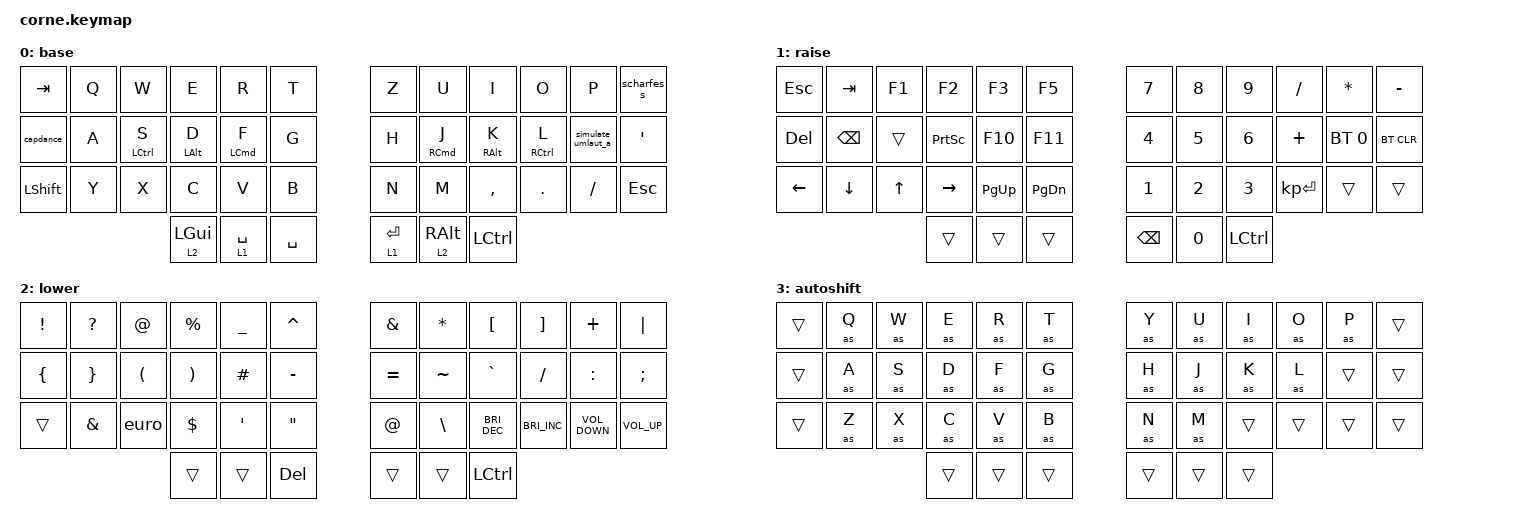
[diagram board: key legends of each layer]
#include <behaviors.dtsi>
#include <dt-bindings/zmk/keys.h>
#include <dt-bindings/zmk/bt.h>

// dt-formatter: indent = "  "
// dt-formatter: multilineIntegerCellsIndent = "reindent"
// dt-formatter: multilineListCommaStyle = "leading"

&sk { /delete-property/ ignore-modifiers; };

/ {
  unicode_input: unicode_input {
    compatible = "zmk,behavior-unicode-input";
    #binding-cells = <1>;
  };

  combos {
    compatible = "zmk,combos";

    alt {
      key-positions = <39 40>;
      bindings = <&kp LEFT_ALT>;
    };
  };

  macros {
    greeting: greeting {
      compatible = "zmk,behavior-macro";
      #binding-cells = <0>;
      label = "greeting";
      bindings = <&kp H &kp E &kp L &kp L &kp O>;
    };

    shift: with_lshift {
      compatible = "zmk,behavior-macro-one-param";
      #binding-cells = <1>;
      label = "KEY_PRESS_WITH_LEFT_SHIFT_MODIFIER";
      bindings
        = <&macro_press>
        , <&kp LSHFT>
        , <&macro_tap>
        , <&macro_param_1to1 &kp MACRO_PLACEHOLDER>
        , <&macro_release>
        , <&kp LSHFT>
        ;
    };

    as: autoshift {
      compatible = "zmk,behavior-macro-one-param";
      #binding-cells = <1>;
      label = "AUTOSHIFT_KEYPRESS";
      bindings
        = <&macro_press>
        , <&macro_param_1to1 &macro_param_1to2 &as_ht MACRO_PLACEHOLDER MACRO_PLACEHOLDER>
        , <&macro_pause_for_release>
        , <&macro_release>
        , <&macro_param_1to1 &macro_param_1to2 &as_ht MACRO_PLACEHOLDER MACRO_PLACEHOLDER>
        ;
    };

    simulate_umlaut_a: simulate_umlaut_a {
      compatible = "zmk,behavior-macro";
      #binding-cells = <0>;
      bindings
        = <&macro_press>
        , <&kp RCTL>
        , <&macro_release>
        , <&kp RCTL>
        , <&macro_press>
        , <&kp DOUBLE_QUOTES>
        , <&macro_release>
        , <&kp DOUBLE_QUOTES>
        ;
    };

    euro: euro {
      compatible = "zmk,behavior-macro";
      #binding-cells = <0>;
      bindings
        = <&macro_press>
        , <&kp RCTL>
        , <&macro_release>
        , <&kp RCTL>
        , <&macro_press>
        , <&kp EQUAL>
        , <&macro_release>
        , <&kp EQUAL>
        , <&macro_press>
        , <&kp E>
        , <&macro_release>
        , <&kp E>
        ;

      label = "EURO";
    };
  scharfes_s: scharfes_s {
    compatible = "zmk,behavior-macro";
    #binding-cells = <0>;
    bindings =
      <&macro_press>, <&kp RCTL>,
      <&macro_release>, <&kp RCTL>,
      <&macro_press>, <&kp S>,
      <&macro_release>, <&kp S>,
      <&macro_press>, <&kp S>,
      <&macro_release>, <&kp S>;

    label = "SCHARFES_S";
  };
  };

  behaviors {
    as_ht: autoshift_hold_tap {
      compatible = "zmk,behavior-hold-tap";
      #binding-cells = <2>;
      label = "AUTOSHIFT_HOLD_TAP";
      bindings = <&shift>, <&kp>;

      tapping-term-ms = <300>;
    };

    hml: homewrow_mods_left {
      compatible = "zmk,behavior-hold-tap";
      #binding-cells = <2>;
      label = "HOMEROW_MODS_LEFT_HAND";
      bindings = <&kp>, <&kp>;

      flavor = "tap-preferred";
      tapping-term-ms = <250>;
      hold-trigger-key-positions = <6 7 8 9 10 11 18 19 20 21 22 23 30 31 32 33 34 35 39 40 41>;
    };

    hmr: homewrow_mods_right {
      compatible = "zmk,behavior-hold-tap";
      #binding-cells = <2>;
      label = "HOMEROW_MODS_RIGHT_HAND";
      bindings = <&kp>, <&kp>;

      flavor = "tap-preferred";
      tapping-term-ms = <250>;
      hold-trigger-key-positions = <0 1 2 3 4 5 12 13 14 15 16 17 24 25 26 27 28 29 36 37 38>;
    };

    capdance: capdance {
      compatible = "zmk,behavior-tap-dance";
      label = "CAPDANCE";
      #binding-cells = <0>;
      bindings = <&caps_word>, <&kp CAPS>;
    };

    lt: layer_tap {
      compatible = "zmk,behavior-hold-tap";
      label = "LAYER_TAP";
      #binding-cells = <2>;
      bindings = <&mo>, <&kp>;

      tapping-term-ms = <300>;
    };
  };

  conditional_layers {
    compatible = "zmk,conditional-layers";

    tri_layer {
      if-layers = <1 2>;
      then-layer = <3>;
    };
  };

  keymap {
    compatible = "zmk,keymap";

    base {
      bindings = <
        &kp TAB    &kp Q  &kp W         &kp E        &kp R        &kp T        &kp Z      &kp U        &kp I        &kp O         &kp P               &scharfes_s
        &capdance  &kp A  &hml LCTRL S  &hml LALT D  &hml LCMD F  &kp G        &kp H      &hmr RCMD J  &hmr RALT K  &hmr RCTRL L  &simulate_umlaut_a  &kp APOS
        &kp LSHFT  &kp Y  &kp X         &kp C        &kp V        &kp B        &kp N      &kp M        &kp COMMA    &kp DOT       &kp FSLH            &kp ESC
                                        &lt 2 LGUI   &lt 1 SPACE  &kp SPACE    &lt 1 RET  &lt 2 RALT   &kp LCTRL
      >;
    };

    raise {
      bindings = <
        &kp ESC   &kp TAB   &kp F1  &kp F2           &kp F3     &kp F5       &kp N7         &kp N8  &kp N9     &kp SLASH     &kp ASTERISK  &kp MINUS
        &kp DEL   &kp BSPC  &trans  &kp PRINTSCREEN  &kp F10    &kp F11      &kp N4         &kp N5  &kp N6     &kp PLUS      &bt BT_SEL 0    &bt BT_CLR
        &kp LEFT  &kp DOWN  &kp UP  &kp RIGHT        &kp PG_UP  &kp PG_DN    &kp N1         &kp N2  &kp N3     &kp KP_ENTER  &trans        &trans
                                    &trans           &trans     &trans       &kp BACKSPACE  &kp N0  &kp LCTRL
      >;
    };

    lower {
      bindings = <
        &kp EXCL  &kp QUESTION    &kp AT    &kp PRCNT  &kp UNDERSCORE         &kp CARET            &kp AMPS   &kp STAR       &kp LEFT_BRACKET      &kp RIGHT_BRACKET     &kp PLUS           &kp PIPE
        &kp LBRC  &kp RBRC        &kp LPAR  &kp RPAR    &kp HASH          &kp MINUS            &kp EQUAL  &kp TILDE      &kp GRAVE             &kp SLASH             &kp COLON          &kp SEMI
        &trans    &kp AMPERSAND  &euro  &kp DOLLAR   &kp SINGLE_QUOTE  &kp DOUBLE_QUOTES    &kp AT     &kp BACKSLASH  &kp C_BRIGHTNESS_DEC  &kp C_BRIGHTNESS_INC  &kp C_VOLUME_DOWN  &kp C_VOLUME_UP
                                            &trans      &trans            &kp DEL              &trans     &trans         &kp LCTRL
      >;
    };

    autoshift {
      bindings = <
        &trans  &as Q  &as W  &as E   &as R   &as T     &as Y   &as U   &as I   &as O   &as P   &trans
        &trans  &as A  &as S  &as D   &as F   &as G     &as H   &as J   &as K   &as L   &trans  &trans
        &trans  &as Z  &as X  &as C   &as V   &as B     &as N   &as M   &trans  &trans  &trans  &trans
                              &trans  &trans  &trans    &trans  &trans  &trans
      >;
    };
  };
};
